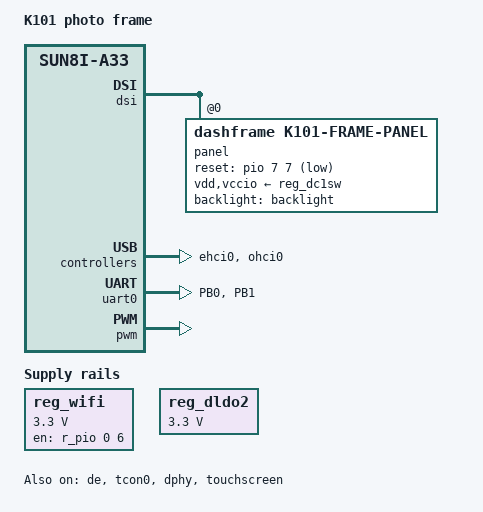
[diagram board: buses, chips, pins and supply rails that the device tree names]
// SPDX-License-Identifier: (GPL-2.0+ OR MIT)
/*
 * K101 photo frame (Allwinner A33, sold as "Kelarior").
 * See hw/HARDWARE.md for where each value comes from.
 */

/dts-v1/;
#include "sun8i-a33.dtsi"
#include "sun8i-reference-design-tablet.dtsi"

/ {
	model = "K101 photo frame";
	compatible = "dashframe,k101-frame", "allwinner,sun8i-a33";

	aliases {
		serial0 = &uart0;
	};

	chosen {
		stdout-path = "serial0:115200n8";
	};

	/* PL6 (wl_reg_on) powers the RTL8188FU on the internal USB1 host port. */
	reg_wifi: regulator-wifi {
		compatible = "regulator-fixed";
		regulator-name = "wifi-power";
		regulator-min-microvolt = <3300000>;
		regulator-max-microvolt = <3300000>;
		gpio = <&r_pio 0 6 GPIO_ACTIVE_HIGH>; /* PL6 */
		enable-active-high;
	};
};

/*
 * Unlike the reference design (dcdc2), the CPU rail is dcdc3: the stock
 * firmware runs it at 1.32 V at 1.2 GHz while dcdc2 stays at 1.1 V.
 */
&cpu0 {
	cpu-supply = <&reg_dcdc3>;
};

/* The stock firmware runs the CPU at 1.2 GHz / 1.32 V (dvfs_table LV3). */
&cpu0_opp_table {
	opp-1104000000 {
		opp-hz = /bits/ 64 <1104000000>;
		opp-microvolt = <1320000>;
		clock-latency-ns = <244144>; /* 8 32k periods */
	};

	opp-1200000000 {
		opp-hz = /bits/ 64 <1200000000>;
		opp-microvolt = <1320000>;
		clock-latency-ns = <244144>; /* 8 32k periods */
	};
};

/* Both on at 3.3 V in the stock firmware; dldo1 feeds the Wi-Fi module. */
&reg_dldo1 {
	regulator-always-on;
};

&reg_dldo2 {
	regulator-always-on;
	regulator-min-microvolt = <3300000>;
	regulator-max-microvolt = <3300000>;
	regulator-name = "vcc-dldo2";
};

&de {
	status = "okay";
};

&tcon0 {
	status = "okay";
};

&dphy {
	status = "okay";
};

&dsi {
	vcc-dsi-supply = <&reg_dcdc1>;
	status = "okay";

	/* JD9365DA-H3; the stock firmware powers it from dc1sw only. */
	panel@0 {
		compatible = "dashframe,k101-frame-panel", "jadard,jd9365da-h3";
		reg = <0>;
		vdd-supply = <&reg_dc1sw>;
		vccio-supply = <&reg_dc1sw>;
		reset-gpios = <&pio 7 7 GPIO_ACTIVE_LOW>; /* PH7 */
		backlight = <&backlight>;
		/*
		 * 800x1280 panel mounted with its left side up (top of the panel
		 * on the frame's right): a 1280x800 landscape frame. Verified on
		 * hardware; the console needs fbcon=rotate:1 since the panel
		 * attaches after fbdev is set up.
		 */
		rotation = <270>;
	};
};

&ehci0 {
	status = "okay";
};

&ohci0 {
	status = "okay";
};

&usbphy {
	usb1_vbus-supply = <&reg_wifi>;
};

/* Soldered debug header: UART0 on PB0 (TX) / PB1 (RX). */
&pio {
	uart0_pb_pins: uart0-pb-pins {
		pins = "PB0", "PB1";
		function = "uart0";
	};
};

&uart0 {
	pinctrl-names = "default";
	pinctrl-0 = <&uart0_pb_pins>;
	status = "okay";
};

/* The reference design routes its console to r_uart instead. */
&r_uart {
	status = "disabled";
};

/* Backlight: PWM0 on PH0, 40 kHz, normal polarity, no separate enable pin. */
&backlight {
	pwms = <&pwm 0 25000 0>;
	/delete-property/ enable-gpios;
};

&pwm {
	pinctrl-names = "default";
	pinctrl-0 = <&pwm0_pin>;
	status = "okay";
};

&touchscreen {
	compatible = "silead,gsl1680";
	vddio-supply = <&reg_ldo_io1>;
	firmware-name = "gsl1680-k101-frame.fw";
	touchscreen-size-x = <1280>;
	touchscreen-size-y = <800>;
	/* Matches the landscape display orientation (verified by tapping corners). */
	touchscreen-inverted-x;
	status = "okay";
};
